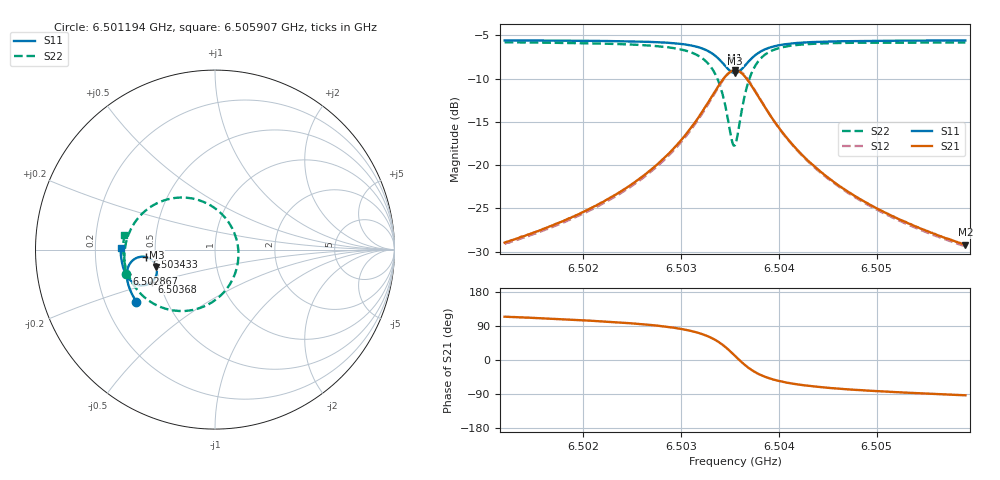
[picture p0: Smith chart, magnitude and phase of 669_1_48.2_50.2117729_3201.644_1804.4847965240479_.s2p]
#  HZ  S  RI  R  50.00
! Rohde & Schwarz Vector Network Analyzer
! Rohde-Schwarz,ZNB20-2Port,1311601062101988,3.16
! Created: UTC 3/20/2024, 12:06:03 PM
! freq[Hz]  re:S11  im:S11  re:S21  im:S21  re:S12  im:S12  re:S22  im:S22
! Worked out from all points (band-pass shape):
!   401 points, 6.501194 GHz to 6.505907 GHz, reference 50 ohm
!   highest |S21| = -9.03 dB at 6.50355 GHz (marker M1); lowest = -29.2 dB at 6.505907 GHz (marker M2)
!   |S21| within 3 dB of the highest: 6.503316 GHz to 6.503787 GHz (471 kHz wide, 0.00724 % of centre)
!   lowest |S11| = -9.3 dB at 6.50355 GHz (marker M3), VSWR 2.03, Z = 25 - j5.45 ohm
!   |S11| at or under -10 dB: nowhere
!   |S22| runs from -17.8 to -5.8 dB; largest |S21 - S12| = 0.014
!   S11 on the Smith chart (normalised r, x): 6.501194 GHz: 0.34, -0.27; 6.502867 GHz: 0.33, -0.12; 6.503433 GHz: 0.45, -0.04; 6.50368 GHz: 0.46, -0.19; 6.505907 GHz: 0.31, +0.01
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6.5011941e9  -0.438 -0.2912  -0.0146 0.0325  -0.0127 0.0326  -0.4957 -0.1336
6.5019835e9  -0.4701 -0.2308  -0.0137 0.0514  -0.0109 0.0508  -0.5053 -0.0457
6.502443e9  -0.485 -0.188  -0.01 0.0735  -0.00639 0.0722  -0.4989 0.0243
6.5027729e9  -0.4914 -0.1493  -0.000219 0.103  0.00383 0.1004  -0.4773 0.0962
6.5028671e9  -0.4916 -0.1358  0.00563 0.1156  0.00999 0.1124  -0.4642 0.1229
6.5030674e9  -0.4855 -0.1013  0.0308 0.1523  0.0351 0.1472  -0.4121 0.194
6.5032088e9  -0.4689 -0.0709  0.0724 0.1874  0.0758 0.1806  -0.3317 0.2539
6.5033384e9  -0.4311 -0.044  0.1528 0.2136  0.154 0.2064  -0.1857 0.2901
6.5034326e9  -0.3826 -0.0421  0.2477 0.1958  0.2484 0.1901  -0.0212 0.2443
6.5035151e9  -0.338 -0.0732  0.329 0.1179  0.3319 0.1122  0.1086 0.0904
6.5035504e9  -0.3269 -0.0965  0.3471 0.0669  0.3512 0.0599  0.1303 -0.00535
6.503574e9  -0.3238 -0.1136  0.3505 0.0309  0.3549 0.0224  0.1276 -0.0717
6.5036093e9  -0.3263 -0.1389  0.3426 -0.0216  0.3464 -0.0321  0.0987 -0.1649
6.50368e9  -0.3496 -0.1778  0.2935 -0.1009  0.293 -0.1144  -0.0171 -0.2937
6.5037743e9  -0.3923 -0.1983  0.2114 -0.1457  0.2058 -0.1574  -0.1841 -0.3423
6.503845e9  -0.4194 -0.1982  0.1618 -0.1508  0.1542 -0.1599  -0.2772 -0.329
6.5039274e9  -0.4433 -0.1907  0.1197 -0.1445  0.1114 -0.1508  -0.3513 -0.2961
6.5040924e9  -0.4732 -0.1694  0.0698 -0.1225  0.0624 -0.1254  -0.4321 -0.2263
6.5043398e9  -0.496 -0.1381  0.0357 -0.0943  0.0302 -0.095  -0.4812 -0.1461
6.5047168e9  -0.5123 -0.0971  0.015 -0.0679  0.0112 -0.0676  -0.5054 -0.0651
6.5051291e9  -0.5209 -0.058  0.00563 -0.0514  0.00282 -0.0509  -0.5114 -0.00349
6.5059067e9  -0.526 0.00875  -0.0019 -0.0346  -0.00339 -0.0338  -0.5046 0.0828
